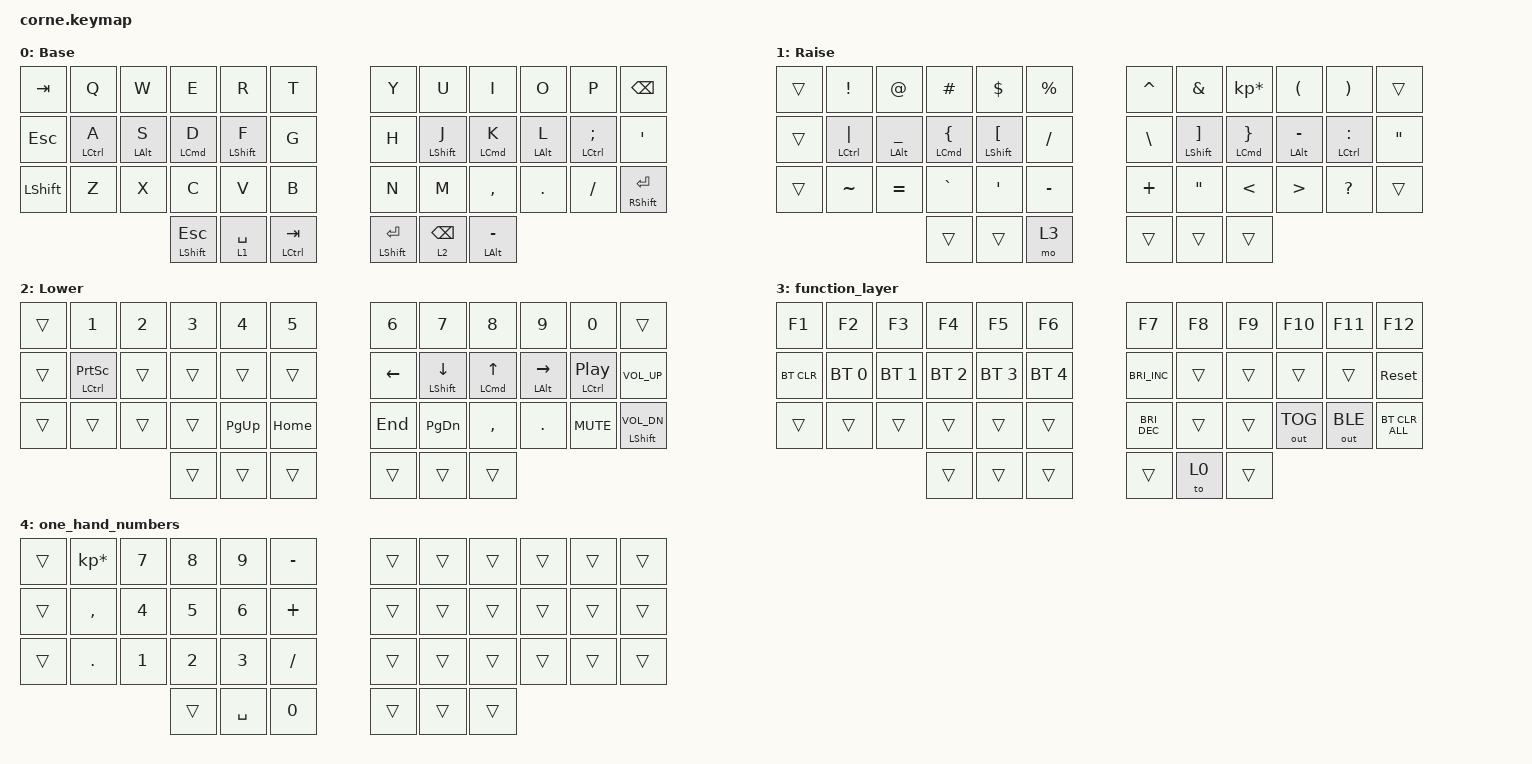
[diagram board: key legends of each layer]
/*
 * Copyright (c) 2020 The ZMK Contributors
 *
 * SPDX-License-Identifier: MIT
 */

#include <behaviors.dtsi>
#include <dt-bindings/zmk/bt.h>
#include <dt-bindings/zmk/keys.h>
#include <dt-bindings/zmk/outputs.h>

// adding double tap for layer tap, which makes it possible to hold the $kp

&lt {
    quick-tap-ms = <150>;
    flavor = "balanced";
};

&caps_word { continue-list = <UNDERSCORE BACKSPACE DELETE SPACE MINUS>; };

/ {
    behaviors {
        hmr: hmr {
            compatible = "zmk,behavior-hold-tap";
            label = "home-row-mode-for-right";
            bindings = <&kp>, <&kp>;

            #binding-cells = <2>;
            tapping-term-ms = <230>;
            quick-tap-ms = <150>;
            require-prior-idle-ms = <130>;
            flavor = "balanced";
            hold-trigger-on-release;
            hold-trigger-key-positions = <0 1 2 3 4 5 12 13 14 15 16 17 24 25 26 27 28 29 36 37 38 39 40 41>;
        };

        hml: hml {
            compatible = "zmk,behavior-hold-tap";
            label = "home-mode-row-for-left";
            bindings = <&kp>, <&kp>;

            #binding-cells = <2>;
            tapping-term-ms = <230>;
            quick-tap-ms = <155>;
            require-prior-idle-ms = <130>;
            flavor = "balanced";
            hold-trigger-key-positions = <6 7 8 9 10 11 18 19 20 21 22 23 30 31 32 33 34 35 39 40 41 36 37 38>;
            hold-trigger-on-release;
        };

        rthumb: rthumb {
            compatible = "zmk,behavior-hold-tap";
            label = "RIGHT_THUMB";
            bindings = <&mo>, <&kp>;

            #binding-cells = <2>;
            tapping-term-ms = <230>;
            quick-tap-ms = <130>;
            flavor = "hold-preferred";
            hold-trigger-key-positions = <1 2 3 4 5 6 7 8 9 10 18 19 20 21 40 13 29 30>;
        };

        holdPriority: holdPriority {
            compatible = "zmk,behavior-hold-tap";
            label = "HOLD_PRIORITY";
            bindings = <&kp>, <&kp>;

            #binding-cells = <2>;
            tapping-term-ms = <230>;
            quick-tap-ms = <150>;
        };

        lthumb: lthumb {
            compatible = "zmk,behavior-hold-tap";
            label = "LEFT_THUMB";
            bindings = <&mo>, <&kp>;

            #binding-cells = <2>;
            tapping-term-ms = <230>;
            quick-tap-ms = <150>;
        };
    };

    combos {
        compatible = "zmk,combos";

        delete {
            bindings = <&kp DEL>;
            key-positions = <15 16>;
        };

        copy {
            bindings = <&kp LG(C)>;
            key-positions = <26 27>;
        };

        paste {
            bindings = <&kp LG(V)>;
            key-positions = <27 28>;
        };

        cut {
            bindings = <&kp LG(X)>;
            key-positions = <26 28>;
        };

        esc {
            bindings = <&kp ESC>;
            key-positions = <19 20>;
        };

        enter {
            bindings = <&kp ENTER>;
            key-positions = <1 2 3 4>;
            layers = <0 4>;
        };

        caps_word {
            bindings = <&caps_word>;
            key-positions = <15 16 19 20>;
            layers = <0>;
        };

        numpad_layer {
            bindings = <&tog 4>;
            key-positions = <25 27 26 27 28>;
            layers = <0 4>;
        };

        equal {
            bindings = <&kp EQUAL>;
            key-positions = <8 9>;
            timeout-ms = <40>;
            require-prior-idle-ms = <30>;
            layers = <0>;
        };
    };

    keymap {
        compatible = "zmk,keymap";

        default_layer {
            // -----------------------------------------------------------------------------------------
            // |  TAB |  Q  |  W  |  E  |  R  |  T  |   |  Y  |  U   |  I  |  O  |  P  | BKSP |
            // | CTRL |  A  |  S  |  D  |  F  |  G  |   |  H  |  J   |  K  |  L  |  ;  |  '   |
            // | SHFT |  Z  |  X  |  C  |  V  |  B  |   |  N  |  M   |  ,  |  .  |  /  | ESC  |
            //                    | GUI | LWR | SPC |   | ENT | RSE  | ALT |

            label = "Base";
            bindings = <
&kp TAB    &kp Q         &kp W            &kp E                            &kp R              &kp T                      &kp Y                           &kp U                &kp I                         &kp O            &kp P            &kp BSPC
&kp ESC    &hml LCTRL A  &hml LEFT_ALT S  &hml LEFT_COMMAND D              &hml LEFT_SHIFT F  &kp G                      &kp H                           &hmr LEFT_SHIFT J    &hmr LEFT_COMMAND K           &hmr LEFT_ALT L  &hmr LCTRL SEMI  &kp SQT
&kp LSHFT  &kp Z         &kp X            &kp C                            &kp V              &kp B                      &kp N                           &kp M                &kp COMMA                     &kp DOT          &kp FSLH         &mt RSHIFT ENTER
                                          &holdPriority LEFT_SHIFT ESCAPE  &lthumb 1 SPACE    &holdPriority LCTRL TAB    &holdPriority LEFT_SHIFT ENTER  &rthumb 2 BACKSPACE  &holdPriority LEFT_ALT MINUS
            >;
        };

        symbol_layer {
            // -----------------------------------------------------------------------------------------
            // |  TAB |  !  |  @  |  #  |  $  |  %  |   |  ^  |  &  |  *  |  (  |  )  | BKSP |
            // | CTRL |     |     |     |     |     |   |  -  |  =  |  [  |  ]  |  \  |  `   |
            // | SHFT |     |     |     |     |     |   |  _  |  +  |  {  |  }  | "|" |  ~   |
            //                    | GUI |     | SPC |   | ENT |     | ALT |

            label = "Raise";
            bindings = <
&trans  &kp EXCL         &kp AT               &kp HASH                      &kp DLLR                      &kp PRCNT    &kp CARET      &kp AMPS                       &kp KP_MULTIPLY                &kp LPAR             &kp RPAR          &trans
&trans  &hml LCTRL PIPE  &hml LEFT_ALT UNDER  &hml LEFT_COMMAND LEFT_BRACE  &hml LEFT_SHIFT LEFT_BRACKET  &kp SLASH    &kp BACKSLASH  &hmr LEFT_SHIFT RIGHT_BRACKET  &hmr LEFT_COMMAND RIGHT_BRACE  &hmr LEFT_ALT MINUS  &hmr LCTRL COLON  &kp DOUBLE_QUOTES
&trans  &kp TILDE        &kp EQUAL            &kp GRAVE                     &kp SINGLE_QUOTE              &kp MINUS    &kp PLUS       &kp DOUBLE_QUOTES              &kp LESS_THAN                  &kp GREATER_THAN     &kp QUESTION      &trans
                                              &trans                        &trans                        &mo 3        &trans         &trans                         &trans
            >;
        };

        lower_layer {
            // -----------------------------------------------------------------------------------------
            // |  TAB |  1  |  2  |  3  |  4  |  5  |   |  6  |  7  |  8  |  9  |  0  | BKSP |
            // | BTCLR| BT1 | BT2 | BT3 | BT4 | BT5 |   | LFT | DWN |  UP | RGT |     |      |
            // | SHFT |     |     |     |     |     |   |     |     |     |     |     |      |
            //                    | GUI |     | SPC |   | ENT |     | ALT |

            label = "Lower";
            bindings = <
&trans  &kp N1                  &kp N2  &kp N3  &kp N4       &kp N5      &kp N6    &kp N7                &kp N8                &kp N9               &kp N0                   &trans
&trans  &hml LCTRL PRINTSCREEN  &trans  &trans  &trans       &trans      &kp LEFT  &hmr LEFT_SHIFT DOWN  &hmr LEFT_COMMAND UP  &hmr LEFT_ALT RIGHT  &hmr LCTRL C_PLAY_PAUSE  &kp C_VOLUME_UP
&trans  &trans                  &trans  &trans  &kp PAGE_UP  &kp HOME    &kp END   &kp PAGE_DOWN         &kp COMMA             &kp DOT              &kp K_MUTE               &mt LSHFT C_VOL_DN
                                        &trans  &trans       &trans      &trans    &trans                &trans
            >;
        };

        function_layer {
            bindings = <
&kp F1      &kp F2        &kp F3        &kp F4        &kp F5        &kp F6          &kp F7                &kp F8  &kp F9  &kp F10       &kp F11       &kp F12
&bt BT_CLR  &bt BT_SEL 0  &bt BT_SEL 1  &bt BT_SEL 2  &bt BT_SEL 3  &bt BT_SEL 4    &kp C_BRIGHTNESS_INC  &trans  &trans  &trans        &trans        &sys_reset
&trans      &trans        &trans        &trans        &trans        &trans          &kp C_BRIGHTNESS_DEC  &trans  &trans  &out OUT_TOG  &out OUT_BLE  &bt BT_CLR_ALL
                                        &trans        &trans        &trans          &trans                &to 0   &trans
            >;
        };

        one_hand_numbers {
            bindings = <
&trans  &kp KP_MULTIPLY  &kp NUMBER_7  &kp NUMBER_8  &kp NUMBER_9  &kp MINUS    &trans  &trans  &trans  &trans  &trans  &trans
&trans  &kp COMMA        &kp NUMBER_4  &kp NUMBER_5  &kp NUMBER_6  &kp PLUS     &trans  &trans  &trans  &trans  &trans  &trans
&trans  &kp DOT          &kp NUMBER_1  &kp NUMBER_2  &kp NUMBER_3  &kp SLASH    &trans  &trans  &trans  &trans  &trans  &trans
                                       &trans        &kp SPACE     &kp N0       &trans  &trans  &trans
            >;
        };
    };
};
